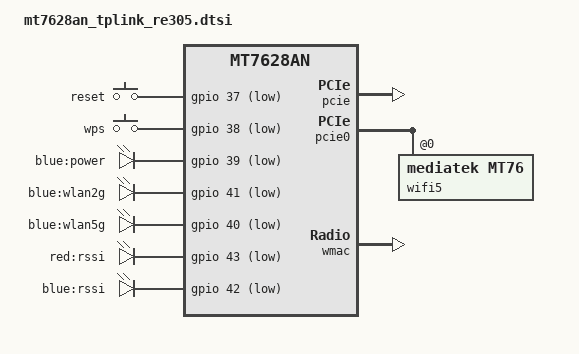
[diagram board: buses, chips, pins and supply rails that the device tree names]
// SPDX-License-Identifier: GPL-2.0-or-later OR MIT

#include "mt7628an.dtsi"

#include <dt-bindings/gpio/gpio.h>
#include <dt-bindings/input/input.h>

/ {
	compatible = "tplink,re305", "mediatek,mt7628an-soc";

	aliases {
		led-boot = &led_power;
		led-failsafe = &led_power;
		led-running = &led_power;
		led-upgrade = &led_power;
		label-mac-device = &ethernet;
	};

	keys {
		compatible = "gpio-keys";

		reset {
			label = "reset";
			gpios = <&gpio 37 GPIO_ACTIVE_LOW>;
			linux,code = <KEY_RESTART>;
		};

		wps {
			label = "wps";
			gpios = <&gpio 38 GPIO_ACTIVE_LOW>;
			linux,code = <KEY_WPS_BUTTON>;
		};
	};

	leds {
		compatible = "gpio-leds";

		led_power: power {
			label = "blue:power";
			gpios = <&gpio 39 GPIO_ACTIVE_LOW>;
		};

		wlan2g {
			label = "blue:wlan2g";
			gpios = <&gpio 41 GPIO_ACTIVE_LOW>;
			linux,default-trigger = "phy0tpt";
		};

		wlan5g {
			label = "blue:wlan5g";
			gpios = <&gpio 40 GPIO_ACTIVE_LOW>;
			linux,default-trigger = "phy1tpt";
		};

		rssi1 {
			label = "red:rssi";
			gpios = <&gpio 43 GPIO_ACTIVE_LOW>;
		};

		rssi2 {
			label = "blue:rssi";
			gpios = <&gpio 42 GPIO_ACTIVE_LOW>;
		};
	};
};

&state_default {
	gpio {
		groups = "refclk", "wdt", "p0led_an", "p1led_an", "p2led_an", "p3led_an", "p4led_an";
		function = "gpio";
	};
};

&pcie {
	status = "okay";
};

&pcie0 {
	wifi5: mt76@0,0 {
		compatible = "mediatek,mt76";
		reg = <0x0000 0 0 0 0>;
		mediatek,mtd-eeprom = <&radio 0x8000>;
		ieee80211-freq-limit = <5000000 6000000>;
		mtd-mac-address-increment = <(-2)>;
	};
};

&wmac {
	status = "okay";

	mediatek,mtd-eeprom = <&radio 0x0>;
	mtd-mac-address-increment = <(-1)>;
};

